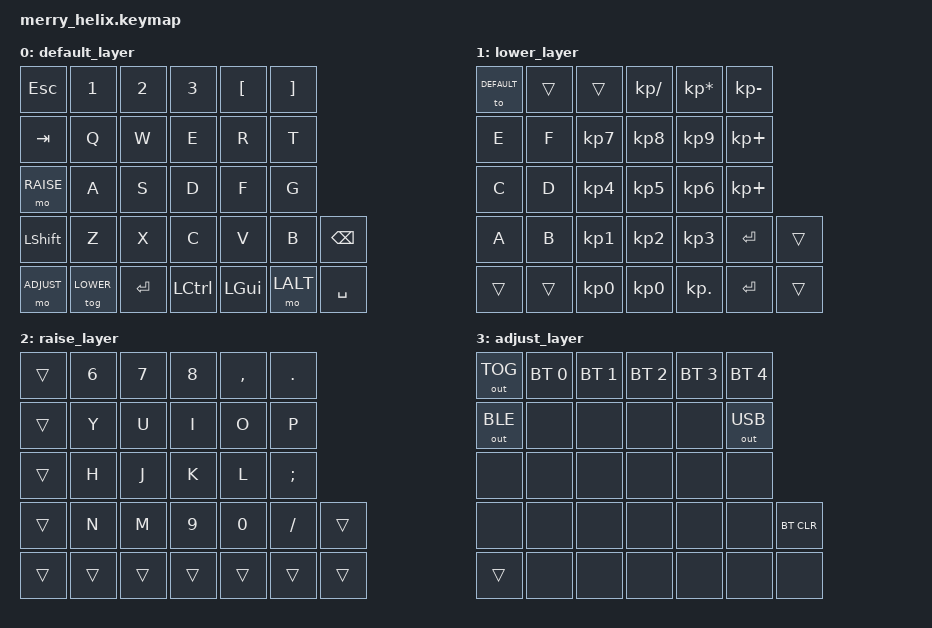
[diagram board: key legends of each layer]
 /*
 * Copyright (c) 2020 The ZMK Contributors
 *
 * SPDX-License-Identifier: MIT
 */

 #include <behaviors.dtsi>
 #include <dt-bindings/zmk/keys.h>
 #include <dt-bindings/zmk/bt.h>
 #include <dt-bindings/zmk/rgb.h>
 #include <dt-bindings/zmk/ext_power.h>
 #include <dt-bindings/zmk/outputs.h>

 #define DEFAULT 0
 #define LOWER  1
 #define RAISE  2
 #define ADJUST 3

/* NOTE: At the time of the creation of this keymap, there are no specified codes for 'eisuu' and 'kana' input in ZMK.
However, 'LANG1' and 'LANG2' are fully-functioning candidates for 'kana' and 'eisuu' input respectively.
As such, those are in use within the default layer at this time.*/

/ {
       keymap {
              compatible = "zmk,keymap";

              default_layer {
                     bindings = <
       &kp ESC    &kp N1     &kp N2   &kp N3    &kp LBKT  &kp RBKT
       &kp TAB    &kp Q      &kp W    &kp E     &kp R     &kp T
       &mo RAISE  &kp A      &kp S    &kp D     &kp F     &kp G
       &kp LSHFT  &kp Z      &kp X    &kp C     &kp V     &kp B     &kp BSPC
       &mo ADJUST &tog LOWER &kp RET  &kp LCTRL &kp LGUI  &mo LALT  &kp SPACE
                     >;
              };
              lower_layer {
                     bindings = <
       &to DEFAULT &trans  &trans    &kp KP_DIVIDE &kp KP_MULTIPLY &kp KP_MINUS
       &kp E       &kp F   &kp KP_N7 &kp KP_N8     &kp KP_N9       &kp KP_PLUS
       &kp C       &kp D   &kp KP_N4 &kp KP_N5     &kp KP_N6       &kp KP_PLUS
       &kp A       &kp B   &kp KP_N1 &kp KP_N2     &kp KP_N3       &kp RET      &trans
       &trans      &trans  &kp KP_N0 &kp KP_N0     &kp KP_DOT      &kp RET      &trans
                     >;
              };
              raise_layer {
                     bindings = <
       &trans &kp N6 &kp N7 &kp N8 &kp COMMA &kp DOT
       &trans &kp Y  &kp U  &kp I  &kp O     &kp P
       &trans &kp H  &kp J  &kp K  &kp L     &kp SEMI
       &trans &kp N  &kp M  &kp N9 &kp N0    &kp FSLH &trans
       &trans &trans &trans &trans &trans    &trans   &trans
                     >;
              };
              adjust_layer {
                     bindings = <
       &out OUT_TOG  &bt BT_SEL 0 &bt BT_SEL 1 &bt BT_SEL 2 &bt BT_SEL 3 &bt BT_SEL 4
       &out OUT_BLE  &none        &none        &none        &none        &out OUT_USB
       &none         &none        &none        &none        &none        &none
       &none         &none        &none        &none        &none        &none        &bt BT_CLR
       &trans        &none        &none        &none        &none        &none        &none
                     >;
              };
       };
};
